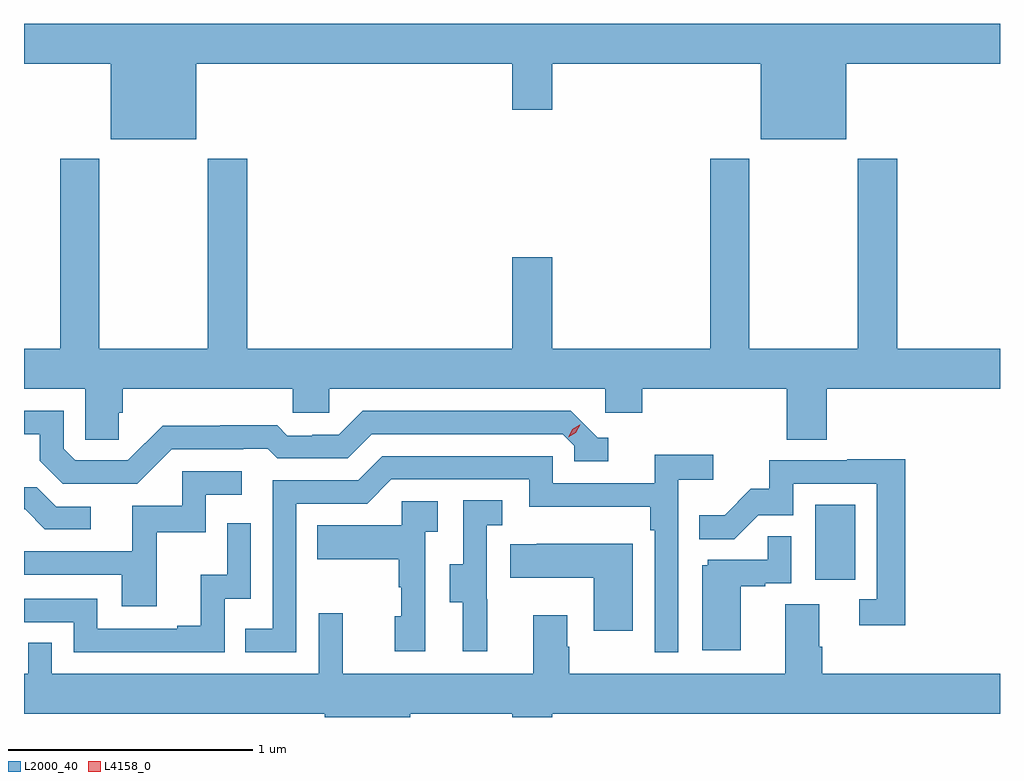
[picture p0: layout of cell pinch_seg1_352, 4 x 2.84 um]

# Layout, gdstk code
import gdstk
lib = gdstk.Library(unit=1e-6, precision=1e-09)
def R(c, l, rs):  # rectangles x0, y0, x1, y1
    for r in rs: c.add(gdstk.rectangle(r[:2], r[2:], *l))
def P(c, l, *ps):  # polygons
    for p in ps: c.add(gdstk.Polygon(p, *l))
L2000_40 = (2000, 40)
L4158_0 = (4158, 0)

pinch_seg1_352 = lib.new_cell('pinch_seg1_352')
R(pinch_seg1_352, L2000_40, [(981.434,558.942,981.598,559.249)])
P(pinch_seg1_352, L2000_40, [(978.898,561.056),(980.192,561.056),(980.192,560.868),(980.356,560.868),(980.356,561.056),(981.212,561.056),(981.212,560.747),(981.562,560.747),(981.562,561.056),(982.192,561.056),(982.192,561.22),(978.192,561.22),(978.192,561.056),(978.548,561.056),(978.548,560.747),(978.898,560.747)],
  [(978.581,559.626),(978.596,559.626),(978.596,559.724),(979.293,559.724),(979.293,559.626),(979.443,559.626),(979.443,559.724),(980.574,559.724),(980.574,559.626),(980.726,559.626),(980.726,559.724),(981.317,559.724),(981.317,559.516),(981.482,559.516),(981.482,559.724),(982.192,559.724),(982.192,559.888),(981.77,559.888),(981.77,560.668),(981.61,560.668),(981.61,559.888),(981.165,559.888),(981.165,560.668),(981.005,560.668),(981.005,559.888),(980.356,559.888),(980.356,560.263),(980.192,560.263),(980.192,559.888),(979.106,559.888),(979.106,560.668),(978.946,560.668),(978.946,559.888),(978.501,559.888),(978.501,560.668),(978.341,560.668),(978.341,559.888),(978.192,559.888),(978.192,559.724),(978.444,559.724),(978.444,559.516),(978.581,559.516)],
  [(978.798,559.476),(979.091,559.476),(979.091,559.479),(979.19,559.479),(979.229,559.44),(979.518,559.44),(979.617,559.539),(980.4,559.539),(980.448,559.491),(980.448,559.428),(980.587,559.428),(980.587,559.524),(980.544,559.524),(980.433,559.635),(979.58,559.635),(979.481,559.536),(979.374,559.536),(979.374,559.533),(979.271,559.533),(979.229,559.576),(978.996,559.576),(978.996,559.573),(978.76,559.573),(978.618,559.431),(978.402,559.431),(978.354,559.479),(978.354,559.635),(978.192,559.635),(978.192,559.539),(978.257,559.539),(978.257,559.429),(978.351,559.335),(978.657,559.335)],
  [(979.308,559.254),(979.599,559.254),(979.698,559.353),(980.262,559.353),(980.262,559.241),(980.758,559.241),(980.758,559.145),(980.778,559.145),(980.778,558.645),(980.874,558.645),(980.874,559.352),(981.016,559.352),(981.016,559.454),(980.777,559.454),(980.777,559.338),(980.358,559.338),(980.358,559.449),(979.661,559.449),(979.562,559.35),(979.212,559.35),(979.212,558.741),(979.099,558.741),(979.099,558.645),(979.308,558.645)],
  [(981.803,559.436),(981.565,559.436),(981.565,559.431),(981.247,559.431),(981.247,559.314),(981.17,559.314),(981.063,559.207),(980.959,559.207),(980.959,559.108),(981.103,559.108),(981.201,559.206),(981.345,559.206),(981.345,559.335),(981.687,559.335),(981.687,558.861),(981.615,558.861),(981.615,558.756),(981.803,558.756)],
  [(978.737,559.137),(978.936,559.137),(978.936,559.29),(979.084,559.29),(979.084,559.386),(978.84,559.386),(978.84,559.245),(978.635,559.245),(978.635,559.059),(978.192,559.059),(978.192,558.963),(978.593,558.963),(978.593,558.834),(978.737,558.834)],
  [(978.466,559.242),(978.324,559.242),(978.244,559.322),(978.192,559.322),(978.192,559.23),(978.197,559.23),(978.278,559.149),(978.466,559.149)],
  [(980.09,558.861),(980.088,558.861),(980.088,559.165),(980.152,559.165),(980.152,559.268),(979.992,559.268),(979.992,559.005),(979.937,559.005),(979.937,558.85),(979.991,558.85),(979.991,558.648),(980.09,558.648)],
  [(979.836,559.139),(979.888,559.139),(979.888,559.263),(979.74,559.263),(979.74,559.165),(979.393,559.165),(979.393,559.025),(979.728,559.025),(979.728,558.911),(979.738,558.911),(979.738,558.792),(979.712,558.792),(979.712,558.648),(979.836,558.648)],
  [(979.014,558.864),(979.122,558.864),(979.122,559.174),(979.026,559.174),(979.026,558.962),(978.917,558.962),(978.917,558.754),(978.821,558.754),(978.821,558.741),(978.492,558.741),(978.492,558.864),(978.192,558.864),(978.192,558.768),(978.396,558.768),(978.396,558.645),(979.014,558.645)],
  [(981.13,558.915),(981.23,558.915),(981.23,558.927),(981.336,558.927),(981.336,559.121),(981.241,559.121),(981.241,559.023),(980.994,559.023),(980.994,559.002),(980.972,559.002),(980.972,558.654),(981.13,558.654)],
  [(980.686,559.09),(980.293,559.09),(980.293,559.087),(980.185,559.087),(980.185,558.95),(980.528,558.95),(980.528,558.732),(980.686,558.732)],
  [(979.774,558.392),(980.192,558.392),(980.192,558.379),(980.356,558.379),(980.356,558.392),(982.192,558.392),(982.192,558.556),(981.464,558.556),(981.464,558.668),(981.451,558.668),(981.451,558.842),(981.311,558.842),(981.311,558.556),(980.427,558.556),(980.427,558.668),(980.419,558.668),(980.419,558.796),(980.279,558.796),(980.279,558.556),(979.499,558.556),(979.499,558.805),(979.401,558.805),(979.401,558.556),(978.306,558.556),(978.306,558.683),(978.21,558.683),(978.21,558.556),(978.192,558.556),(978.192,558.392),(979.424,558.392),(979.424,558.379),(979.774,558.379)])
P(pinch_seg1_352, L4158_0, [(980.422,559.526),(980.422,559.526),(980.439,559.559),(980.47,559.577),(980.471,559.577),(980.471,559.577),(980.454,559.545),(980.423,559.526)])

lib.write_gds('pinch_seg1_352.gds')
